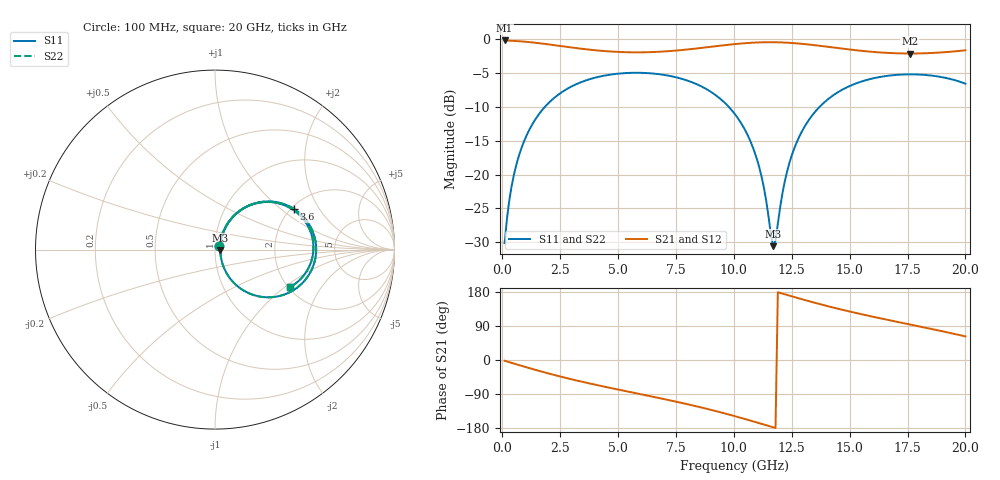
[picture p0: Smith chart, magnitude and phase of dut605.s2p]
! Touchstone file exported from HFSS 2026.1.0
!  File:  C:/ffzhzh/LocalFiles/Ansys_Project_Files/temp_train_TSV_RDL_605_1783122635_37876.aedt
!  Generated:  08:05:50 AM Jul  4, 2026
!  Design:  TSV_RDL
!  Project:  temp_train_TSV_RDL_605_1783122635_37876
! Variables:
!  h_bsmrdl = 4.36um
!  h_ox = 20um
!  h_rdl = 5um
!  h_sub = 51.2um
!  h_tmrdl = 4.11um
!  h_tsv = 51.2um
!  h_via = 3um
!  l_bsmrdl = 775.14um
!  l_sub = 5477.38um
!  l_tmrdl = 659.43um
!  m_sub = 200um
!  pitch = 45.04um
!  r_tsv = 5.6um
!  s_tmrdl = 10um
!  w_bsmrdl = 19.8um
!  w_sub = 500um
!  w_tmrdl = 18.28um
!  x_tsv_center1 = 668.57um
!  x_tsv_center2 = 1463.51um
!  x_tsv_center3 = 2141.22um
!  x_tsv_center4 = 2936.16um
!  x_tsv_center5 = 3613.87um
!  x_tsv_center6 = 4408.81um
# GHz S MA R 50.000000
! Terminal data exported
! Port[1] = TM_RDL1_1_T1
! Port[2] = TM_RDL5_1_T1
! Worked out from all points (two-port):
!   200 points, 100 MHz to 20 GHz, reference 50 ohm
!   highest |S21| = -0.21 dB at 100 MHz (marker M1); lowest = -2.1 dB at 17.6 GHz (marker M2)
!   |S21| within 3 dB of the highest: start of sweep to end of sweep
!   lowest |S11| = -30.6 dB at 11.7 GHz (marker M3), VSWR 1.06, Z = 53 - j0.344 ohm
!   |S11| at or under -10 dB: start of sweep to 1.844 GHz; 9.777 GHz to 13.71 GHz (3.929 GHz wide, 33.5 % of centre)
!   |S22| runs from -30.7 to -5.0 dB; largest |S21 - S12| = 1.6e-14
!   S11 on the Smith chart (normalised r, x): 100 MHz: 1.05, +0.04; 3.6 GHz: 2.07, +1.24; 20 GHz: 2.05, -1.09
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0.1  0.0312 38.6  0.9761 -1.9  0.9761 -1.9  0.0312 38.6
! Gamma 0 0 0 0
! Port Impedance 50 0 50 0
0.3  0.06409 60.8  0.9728 -5.7  0.9728 -5.7  0.06409 60.8
0.5  0.09926 65.1  0.9688 -9.4  0.9688 -9.4  0.09926 65.1
1.1  0.2028 61.9  0.9517 -20.3  0.9517 -20.3  0.2028 61.9
2.1  0.3503 48.1  0.9083 -37.2  0.9083 -37.2  0.3503 48.1
3.5  0.4875 28.6  0.8445 -58.2  0.8445 -58.2  0.4875 28.6
3.6  0.4943 27.3  0.8407 -59.6  0.8407 -59.6  0.4943 27.3
5.2  0.559 7.3  0.8008 -80.5  0.8008 -80.5  0.559 7.3
6.8  0.5496 -12.0  0.806 -100.7  0.806 -100.7  0.5496 -12.0
8.6  0.4471 -35.0  0.8598 -125.3  0.8598 -125.3  0.4471 -35.0
10.1  0.2713 -55.7  0.9197 -149.2  0.9197 -149.2  0.2713 -55.7
10.7  0.1787 -62.5  0.9374 -159.6  0.9374 -159.6  0.1787 -62.6
11.1  0.1127 -63.8  0.9448 -166.7  0.9448 -166.7  0.1126 -63.9
11.7  0.02961 -6.3  0.9476 -177.6  0.9476 -177.6  0.02931 -6.4
11.8  0.03262 24.5  0.947 -179.4  0.947 -179.4  0.03233 24.7
12.1  0.07295 59.8  0.9436 175.2  0.9436 175.2  0.07279 60.0
12.4  0.1219 64.4  0.9378 169.8  0.9378 169.8  0.1217 64.6
13.4  0.2755 55.5  0.9045 152.6  0.9045 152.6  0.2754 55.6
14.9  0.4418 35.5  0.8407 129.4  0.8407 129.4  0.4417 35.6
16.7  0.537 13.1  0.7891 105.2  0.7891 105.2  0.537 13.2
17.6  0.5488 2.5  0.782 93.8  0.782 93.8  0.5487 2.6
20  0.4681 -26.4  0.8256 62.3  0.8256 62.3  0.4681 -26.3
